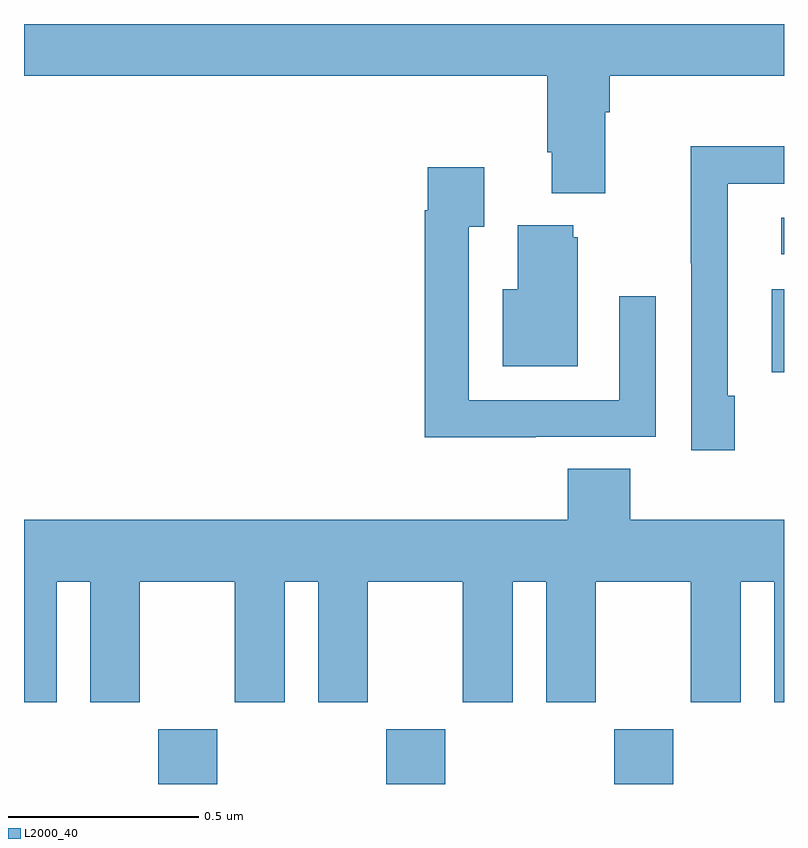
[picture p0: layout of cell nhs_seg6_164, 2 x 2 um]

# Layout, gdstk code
import gdstk
lib = gdstk.Library(unit=1e-6, precision=1e-09)
def R(c, l, rs):  # rectangles x0, y0, x1, y1
    for r in rs: c.add(gdstk.rectangle(r[:2], r[2:], *l))
def A(c, l, x, y, w, h, nx, ny, dx, dy):  # array of equal rectangles
    R(c, l, [(x+i*dx, y+j*dy, x+i*dx+w, y+j*dy+h) for i in range(nx) for j in range(ny)])
def P(c, l, *ps):  # polygons
    for p in ps: c.add(gdstk.Polygon(p, *l))
L2000_40 = (2000, 40)

nhs_seg6_164 = lib.new_cell('nhs_seg6_164')
A(nhs_seg6_164, L2000_40, 113.353, 917.5, 0.155, 0.144, 3, 1, 0.6, 0)
R(nhs_seg6_164, L2000_40, [(114.968,918.583,115,918.802), (114.993,918.894,115,918.99)])
P(nhs_seg6_164, L2000_40, [(114.529,919.268),(114.542,919.268),(114.542,919.364),(115,919.364),(115,919.5),(113,919.5),(113,919.364),(114.377,919.364),(114.377,919.162),(114.389,919.162),(114.389,919.055),(114.529,919.055)],
  [(114.871,918.522),(114.852,918.522),(114.852,919.08),(115,919.08),(115,919.178),(114.754,919.178),(114.754,918.871),(114.756,918.871),(114.756,918.378),(114.871,918.378)],
  [(114.347,918.414),(114.663,918.414),(114.663,918.784),(114.567,918.784),(114.567,918.51),(114.171,918.51),(114.171,918.967),(114.211,918.967),(114.211,919.123),(114.063,919.123),(114.063,919.01),(114.055,919.01),(114.055,918.413),(114.347,918.413)],
  [(114.457,918.939),(114.446,918.939),(114.446,918.97),(114.299,918.97),(114.299,918.802),(114.26,918.802),(114.26,918.599),(114.457,918.599)],
  [(113.086,918.032),(113.174,918.032),(113.174,917.715),(113.305,917.715),(113.305,918.032),(113.555,918.032),(113.555,917.715),(113.686,917.715),(113.686,918.032),(113.774,918.032),(113.774,917.715),(113.905,917.715),(113.905,918.032),(114.155,918.032),(114.155,917.715),(114.286,917.715),(114.286,918.032),(114.374,918.032),(114.374,917.715),(114.505,917.715),(114.505,918.032),(114.755,918.032),(114.755,917.715),(114.886,917.715),(114.886,918.032),(114.974,918.032),(114.974,917.715),(115,917.715),(115,918.196),(114.596,918.196),(114.596,918.329),(114.431,918.329),(114.431,918.196),(113,918.196),(113,917.715),(113.086,917.715)])

lib.write_gds('nhs_seg6_164.gds')
